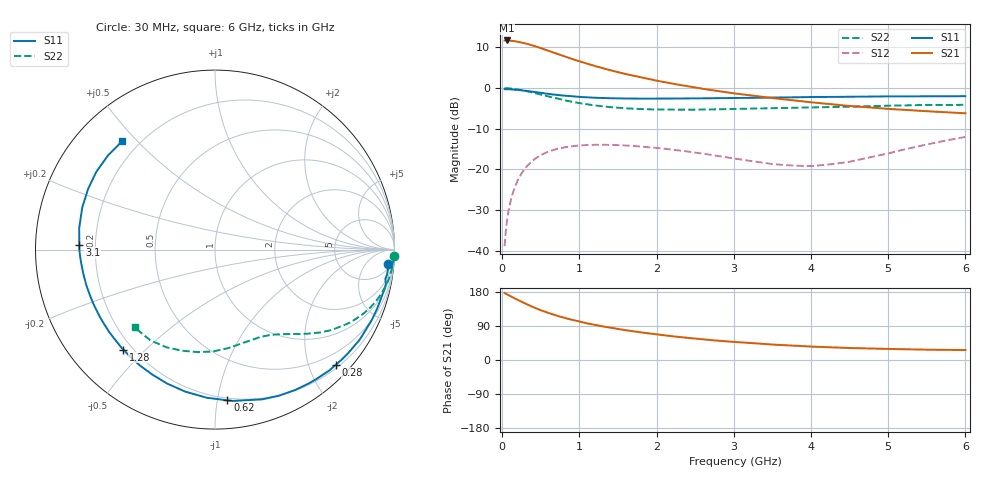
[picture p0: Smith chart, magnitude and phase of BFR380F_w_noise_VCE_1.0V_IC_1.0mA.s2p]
! Infineon Technologies  Discrete & RF Semiconductors
! BFR380F
! VCE =  1.0 V,  IC =  1.0 mA
! Common Emitter S-Parameters:  Nov 2015
# GHz  S  MA  R  50
!  f  S11  S21  S12  S22
! GHz  MAG  ANG  MAG  ANG  MAG  ANG  MAG  ANG
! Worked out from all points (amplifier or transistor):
!   206 points, 30 MHz to 6 GHz, reference 50 ohm
!   highest |S21| = 11.7 dB at 60 MHz (marker M1)
!   |S21| within 3 dB of that: start of sweep to 667.1 MHz
!   unconditionally stable (mu >= 1): 2.971 GHz to end of sweep
!   at 200 MHz: K = 0.05, MSG = 17.0 dB, |S12| = -22.7 dB
!   at 1.56 GHz: K = 0.49, MSG = 8.9 dB, |S12| = -14.1 dB
!   at 6 GHz: K = 1.03, MAG = 1.8 dB, |S12| = -12.0 dB
!   lowest NFmin = 0.89 dB at 450 MHz
!   S11 on the Smith chart (normalised r, x): 30 MHz: 8, -21; 280 MHz: 0.26, -2.47; 620 MHz: 0.18, -1.07; 1.28 GHz: 0.17, -0.43; 3.1 GHz: 0.14, +0.02; 6 GHz: 0.14, +0.45
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0.03  0.9689 -4.8  3.829 176.8  0.0114 87.0  0.9972 -2.2
0.05  0.9684 -8.4  3.844 174.1  0.0192 85.4  0.9959 -3.7
0.06  0.9628 -9.8  3.846 173.4  0.0229 84.9  0.9945 -4.4
0.095  0.9656 -15.3  3.821 169.6  0.036 81.1  0.9897 -6.9
0.145  0.9583 -23.3  3.783 164.4  0.0543 76.4  0.9789 -10.4
0.2  0.9497 -31.9  3.712 158.5  0.0733 71.5  0.962 -14.2
0.28  0.9298 -43.7  3.57 150.7  0.0982 64.6  0.9315 -19.2
0.36  0.9106 -54.8  3.404 143.2  0.1201 58.3  0.8963 -23.8
0.45  0.8883 -66.5  3.21 135.3  0.1408 51.9  0.8549 -28.4
0.5  0.8747 -72.5  3.095 131.3  0.1504 48.7  0.8306 -30.6
0.62  0.8426 -85.3  2.822 122.7  0.1686 41.5  0.779 -35.4
0.8  0.8081 -102.0  2.464 111.4  0.1867 32.9  0.7101 -41.1
0.9  0.7926 -109.7  2.287 106.0  0.1929 28.9  0.6791 -43.8
1.04  0.7741 -119.1  2.073 99.3  0.1982 24.3  0.6438 -46.9
1.28  0.7559 -132.5  1.777 89.5  0.2011 17.7  0.5993 -51.9
1.6  0.7441 -146.1  1.486 78.5  0.1968 11.5  0.5632 -57.8
2.02  0.7418 -159.3  1.222 67.1  0.1831 6.4  0.5453 -65.1
2.6  0.7481 -172.9  0.978 54.4  0.1562 4.3  0.5441 -75.5
3.1  0.7566 178.0  0.839 46.4  0.1321 8.6  0.5558 -84.4
4.1  0.7763 160.8  0.655 34.7  0.1119 37.3  0.5805 -101.1
5.1  0.7901 145.3  0.548 28.8  0.1662 62.4  0.6092 -118.2
6  0.7951 130.5  0.49 26.2  0.2508 64.8  0.6231 -135.9
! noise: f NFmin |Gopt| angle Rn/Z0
0.45  0.89  0.66  41  0.41
0.9  1.11  0.61  80  0.32
1.8  1.88  0.61  134  0.2
1.9  2.18  0.63  138  0.19
2.4  2.61  0.63  155  0.14
3.5  3.96  0.62  -172  0.16
